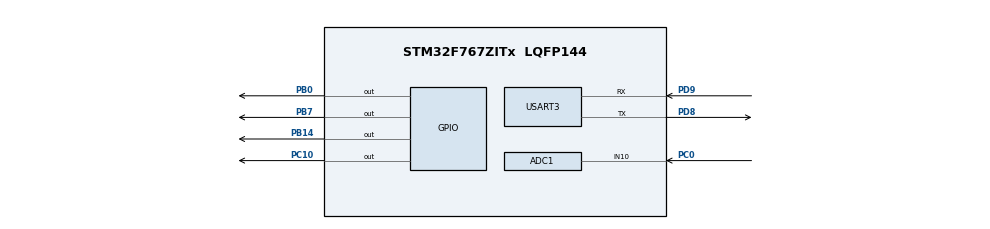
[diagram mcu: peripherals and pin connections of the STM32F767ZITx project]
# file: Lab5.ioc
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ADC1.Channel-0\#ChannelRegularConversion=ADC_CHANNEL_10
ADC1.ContinuousConvMode=ENABLE
ADC1.EOCSelection=ADC_EOC_SEQ_CONV
ADC1.NbrOfConversion=1
ADC1.NbrOfConversionFlag=1
ADC1.Rank-0\#ChannelRegularConversion=1
ADC1.SamplingTime-0\#ChannelRegularConversion=ADC_SAMPLETIME_3CYCLES
ADC1.master=1
CORTEX_M7.default_mode_Activation=1
Mcu.Family=STM32F7
Mcu.Name=STM32F767ZITx
Mcu.Package=LQFP144
NVIC.PriorityGroup=NVIC_PRIORITYGROUP_4
NVIC.USART3_IRQn=true\:0\:0\:false\:false\:true\:true\:true\:true
PB0.Signal=GPIO_Output
PB14.Signal=GPIO_Output
PB7.Signal=GPIO_Output
PC0.Signal=ADCx_IN10
PC10.Signal=GPIO_Output
PD8.Mode=Asynchronous
PD8.Signal=USART3_TX
PD9.Mode=Asynchronous
PD9.Signal=USART3_RX
ProjectManager.HeapSize=0x200
ProjectManager.StackSize=0x400
ProjectManager.TargetToolchain=STM32CubeIDE
RCC.HSE_VALUE=25000000
RCC.HSI_VALUE=16000000
RCC.LSE_VALUE=32768
RCC.USBFreq_Value=96000000
RCC.VCOOutputFreq_Value=192000000
SH.ADCx_IN10.0=ADC1_IN10,IN10
USART3.VirtualMode-Asynchronous=VM_ASYNC
board=custom

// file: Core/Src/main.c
/* USER CODE BEGIN Header */
/**
  ******************************************************************************
  * @file           : main.c
  * @brief          : Main program body
  ******************************************************************************
  * @attention
  *
  * Copyright (c) 2025 STMicroelectronics.
  * All rights reserved.
  *
  * This software is licensed under terms that can be found in the LICENSE file
  * in the root directory of this software component.
  * If no LICENSE file comes with this software, it is provided AS-IS.
  *
  ******************************************************************************
  */
/* USER CODE END Header */
#include "main.h"

/* USER CODE BEGIN Includes */
#include <stdio.h>
#include <string.h>
#include <stdlib.h>

/* USER CODE END Includes */

/* USER CODE BEGIN PD */

//char rx_message[100];
char rx_buffer;
char rx_message[100];
char message[100];
int len = 0;
int len_rx = 0;
int msg = 0;

#define ADC_RESOLUTION 4095.0  // 12-bit ADC resolution
#define VREF 3.3               // Reference voltage (3.3V)
uint32_t adc_value = 0;
float voltage = 0;

char hexBuffer[100];

int avr_8;
int avr_16;

/* USER CODE END PD */

ADC_HandleTypeDef hadc1;

UART_HandleTypeDef huart3;

void SystemClock_Config(void);
static void MPU_Config(void);
static void MX_GPIO_Init(void);
static void MX_USART3_UART_Init(void);
static void MX_ADC1_Init(void);

/* USER CODE BEGIN 0 */

// Function to map ADC value to voltage
float ADC_to_Voltage(uint32_t adc_value) {
    return (adc_value / ADC_RESOLUTION) * VREF;
}

void displayHEX(int decimalNumber, char *hexBuffer)
{
    sprintf(hexBuffer, "0x%08X", decimalNumber);
}

// set char rx_message[100];
void inputText()
{
	char rx_buffer;
	char rx_message[100];
	int len = 0;
	int len_rx = 0;
	char *msg[100];

	while (1)
	{
		if (HAL_UART_Receive(&huart3, (uint8_t*)&rx_buffer, sizeof(rx_buffer), HAL_MAX_DELAY) == HAL_OK)
		  {
			  HAL_UART_Transmit(&huart3, (uint8_t*)&rx_buffer, sizeof(rx_buffer), HAL_MAX_DELAY);

			  // add char to string
			  len = strlen(rx_message);

			  if (len < sizeof(rx_message) - 1 && rx_buffer != '\r')
			  {
				  rx_message[len] = rx_buffer;
				  rx_message[len + 1] = '\0';

			  }

			  len_rx = strlen(rx_message);

			  // action ENTER KEY
			  if (rx_buffer == '\r')
			  {
				  HAL_UART_Transmit(&huart3, (uint8_t*)"\r\n", 2, HAL_MAX_DELAY);
				  sprintf(msg, sizeof(msg), "0x%X", rx_message);
				  HAL_UART_Transmit(&huart3, msg, sizeof(msg), HAL_MAX_DELAY);
				  HAL_UART_Transmit(&huart3, (uint8_t*)"\r\n", 2, HAL_MAX_DELAY);
//				  memset(rx_message, 0, sizeof(rx_message));
//				  memset(msg, 0, sizeof(msg));
				  break;
			  }
		  }
	}

}

int avrage_8(int x){
	static int samples[8];
	static int i = 0;
	static total = 0;

	total += x - samples[i];
	samples[i] = x;
	i = (i==7 ? 0 : i+1);
	return total>>3;
}

int avrage_16(int x){
	static int samples[16];
	static int i = 0;
	static total = 0;

	total += x - samples[i];
	samples[i] = x;
	i = (i==7 ? 0 : i+1);
	return total>>4;
}

/* USER CODE END 0 */

int main(void)
{

  /* MPU Configuration--------------------------------------------------------*/
  MPU_Config();

  /* MCU Configuration--------------------------------------------------------*/

  /* Reset of all peripherals, Initializes the Flash interface and the Systick. */
  HAL_Init();

  /* Configure the system clock */
  SystemClock_Config();

  /* Initialize all configured peripherals */
  MX_GPIO_Init();
  MX_USART3_UART_Init();
  MX_ADC1_Init();
  /* USER CODE BEGIN 2 */

  HAL_ADC_Start(&hadc1);

  /* USER CODE END 2 */

  /* Infinite loop */
  while (1)
  {

    /* USER CODE BEGIN 3 */
	  while (HAL_ADC_PollForConversion(&hadc1, 100) != HAL_OK){}
	  adc_value = HAL_ADC_GetValue(&hadc1);
//	  mappedValue = (adc_value * 4025) / 4095;
	  avr_8 = avrage_8(adc_value);
	  avr_16 = avrage_16(adc_value);
	  displayHEX(adc_value, hexBuffer);
	  voltage = ADC_to_Voltage(adc_value);

//	  HAL_GPIO_WritePin(GPIOB, GPIO_PIN_0, (avr_8 < 1007) ? GPIO_PIN_SET : GPIO_PIN_RESET);
//	  HAL_GPIO_WritePin(GPIOB, GPIO_PIN_7, (avr_8 >= 1007 && avr_8 < 2013) ? GPIO_PIN_SET : GPIO_PIN_RESET);
//	  HAL_GPIO_WritePin(GPIOB, GPIO_PIN_14, (avr_8 >= 2013 && avr_8 < 3019) ? GPIO_PIN_SET : GPIO_PIN_RESET);
//	  HAL_GPIO_WritePin(GPIOC, GPIO_PIN_10, (avr_8 >= 3019) ? GPIO_PIN_SET : GPIO_PIN_RESET);

	  if(avr_8 < 806) {
		  HAL_GPIO_WritePin(GPIOB, GPIO_PIN_0 | GPIO_PIN_7 | GPIO_PIN_14, GPIO_PIN_RESET);
		  HAL_GPIO_WritePin(GPIOC, GPIO_PIN_10, GPIO_PIN_RESET);
	  } else if (avr_8 < 1611) {
		  HAL_GPIO_WritePin(GPIOB, GPIO_PIN_0, GPIO_PIN_SET);
		  HAL_GPIO_WritePin(GPIOB, GPIO_PIN_7 | GPIO_PIN_14, GPIO_PIN_RESET);
		  HAL_GPIO_WritePin(GPIOC, GPIO_PIN_10, GPIO_PIN_RESET);
	  } else if (avr_8 < 2416) {
		  HAL_GPIO_WritePin(GPIOB, GPIO_PIN_0 | GPIO_PIN_7, GPIO_PIN_SET);
		  HAL_GPIO_WritePin(GPIOB, GPIO_PIN_14, GPIO_PIN_RESET);
		  HAL_GPIO_WritePin(GPIOC, GPIO_PIN_10, GPIO_PIN_RESET);
	  } else if (avr_8 < 3221) {
		  HAL_GPIO_WritePin(GPIOB, GPIO_PIN_0 | GPIO_PIN_7 | GPIO_PIN_14, GPIO_PIN_SET);
		  HAL_GPIO_WritePin(GPIOC, GPIO_PIN_10, GPIO_PIN_RESET);
	  } else {
		  HAL_GPIO_WritePin(GPIOB, GPIO_PIN_0 | GPIO_PIN_7 | GPIO_PIN_14, GPIO_PIN_SET);
		  HAL_GPIO_WritePin(GPIOC, GPIO_PIN_10, GPIO_PIN_SET);
	  }

	  memset(message, 0 , sizeof(message));
	  snprintf(message, sizeof(message), "ADC1_CH10 %s Vin = %.2f V\r\n", hexBuffer, voltage);
	  HAL_UART_Transmit(&huart3, (uint8_t *)message, sizeof(message), HAL_MAX_DELAY);
	  HAL_Delay(200);

  }
  /* USER CODE END 3 */
}

void SystemClock_Config(void)
{
  RCC_OscInitTypeDef RCC_OscInitStruct = {0};
  RCC_ClkInitTypeDef RCC_ClkInitStruct = {0};

  /** Configure the main internal regulator output voltage
  */
  __HAL_RCC_PWR_CLK_ENABLE();
  __HAL_PWR_VOLTAGESCALING_CONFIG(PWR_REGULATOR_VOLTAGE_SCALE3);

  /** Initializes the RCC Oscillators according to the specified parameters
  * in the RCC_OscInitTypeDef structure.
  */
  RCC_OscInitStruct.OscillatorType = RCC_OSCILLATORTYPE_HSI;
  RCC_OscInitStruct.HSIState = RCC_HSI_ON;
  RCC_OscInitStruct.HSICalibrationValue = RCC_HSICALIBRATION_DEFAULT;
  RCC_OscInitStruct.PLL.PLLState = RCC_PLL_NONE;
  if (HAL_RCC_OscConfig(&RCC_OscInitStruct) != HAL_OK)
  {
    Error_Handler();
  }

  /** Initializes the CPU, AHB and APB buses clocks
  */
  RCC_ClkInitStruct.ClockType = RCC_CLOCKTYPE_HCLK|RCC_CLOCKTYPE_SYSCLK
                              |RCC_CLOCKTYPE_PCLK1|RCC_CLOCKTYPE_PCLK2;
  RCC_ClkInitStruct.SYSCLKSource = RCC_SYSCLKSOURCE_HSI;
  RCC_ClkInitStruct.AHBCLKDivider = RCC_SYSCLK_DIV1;
  RCC_ClkInitStruct.APB1CLKDivider = RCC_HCLK_DIV1;
  RCC_ClkInitStruct.APB2CLKDivider = RCC_HCLK_DIV1;

  if (HAL_RCC_ClockConfig(&RCC_ClkInitStruct, FLASH_LATENCY_0) != HAL_OK)
  {
    Error_Handler();
  }
}

static void MX_ADC1_Init(void)
{

  ADC_ChannelConfTypeDef sConfig = {0};

  /** Configure the global features of the ADC (Clock, Resolution, Data Alignment and number of conversion)
  */
  hadc1.Instance = ADC1;
  hadc1.Init.ClockPrescaler = ADC_CLOCK_SYNC_PCLK_DIV2;
  hadc1.Init.Resolution = ADC_RESOLUTION_12B;
  hadc1.Init.ScanConvMode = ADC_SCAN_DISABLE;
  hadc1.Init.ContinuousConvMode = ENABLE;
  hadc1.Init.DiscontinuousConvMode = DISABLE;
  hadc1.Init.ExternalTrigConvEdge = ADC_EXTERNALTRIGCONVEDGE_NONE;
  hadc1.Init.ExternalTrigConv = ADC_SOFTWARE_START;
  hadc1.Init.DataAlign = ADC_DATAALIGN_RIGHT;
  hadc1.Init.NbrOfConversion = 1;
  hadc1.Init.DMAContinuousRequests = DISABLE;
  hadc1.Init.EOCSelection = ADC_EOC_SEQ_CONV;
  if (HAL_ADC_Init(&hadc1) != HAL_OK)
  {
    Error_Handler();
  }

  /** Configure for the selected ADC regular channel its corresponding rank in the sequencer and its sample time.
  */
  sConfig.Channel = ADC_CHANNEL_10;
  sConfig.Rank = ADC_REGULAR_RANK_1;
  sConfig.SamplingTime = ADC_SAMPLETIME_3CYCLES;
  if (HAL_ADC_ConfigChannel(&hadc1, &sConfig) != HAL_OK)
  {
    Error_Handler();
  }

}

static void MX_USART3_UART_Init(void)
{

  huart3.Instance = USART3;
  huart3.Init.BaudRate = 115200;
  huart3.Init.WordLength = UART_WORDLENGTH_8B;
  huart3.Init.StopBits = UART_STOPBITS_1;
  huart3.Init.Parity = UART_PARITY_NONE;
  huart3.Init.Mode = UART_MODE_TX_RX;
  huart3.Init.HwFlowCtl = UART_HWCONTROL_NONE;
  huart3.Init.OverSampling = UART_OVERSAMPLING_16;
  huart3.Init.OneBitSampling = UART_ONE_BIT_SAMPLE_DISABLE;
  huart3.AdvancedInit.AdvFeatureInit = UART_ADVFEATURE_NO_INIT;
  if (HAL_UART_Init(&huart3) != HAL_OK)
  {
    Error_Handler();
  }

}

static void MX_GPIO_Init(void)
{
  GPIO_InitTypeDef GPIO_InitStruct = {0};

  /* GPIO Ports Clock Enable */
  __HAL_RCC_GPIOC_CLK_ENABLE();
  __HAL_RCC_GPIOB_CLK_ENABLE();
  __HAL_RCC_GPIOD_CLK_ENABLE();

  /*Configure GPIO pin Output Level */
  HAL_GPIO_WritePin(GPIOB, GPIO_PIN_0|GPIO_PIN_14|GPIO_PIN_7, GPIO_PIN_RESET);

  /*Configure GPIO pin Output Level */
  HAL_GPIO_WritePin(GPIOC, GPIO_PIN_10, GPIO_PIN_RESET);

  /*Configure GPIO pins : PB0 PB14 PB7 */
  GPIO_InitStruct.Pin = GPIO_PIN_0|GPIO_PIN_14|GPIO_PIN_7;
  GPIO_InitStruct.Mode = GPIO_MODE_OUTPUT_PP;
  GPIO_InitStruct.Pull = GPIO_NOPULL;
  GPIO_InitStruct.Speed = GPIO_SPEED_FREQ_LOW;
  HAL_GPIO_Init(GPIOB, &GPIO_InitStruct);

  /*Configure GPIO pin : PC10 */
  GPIO_InitStruct.Pin = GPIO_PIN_10;
  GPIO_InitStruct.Mode = GPIO_MODE_OUTPUT_PP;
  GPIO_InitStruct.Pull = GPIO_NOPULL;
  GPIO_InitStruct.Speed = GPIO_SPEED_FREQ_LOW;
  HAL_GPIO_Init(GPIOC, &GPIO_InitStruct);

}

 /* MPU Configuration */

void MPU_Config(void)
{
  MPU_Region_InitTypeDef MPU_InitStruct = {0};

  /* Disables the MPU */
  HAL_MPU_Disable();

  /** Initializes and configures the Region and the memory to be protected
  */
  MPU_InitStruct.Enable = MPU_REGION_ENABLE;
  MPU_InitStruct.Number = MPU_REGION_NUMBER0;
  MPU_InitStruct.BaseAddress = 0x0;
  MPU_InitStruct.Size = MPU_REGION_SIZE_4GB;
  MPU_InitStruct.SubRegionDisable = 0x87;
  MPU_InitStruct.TypeExtField = MPU_TEX_LEVEL0;
  MPU_InitStruct.AccessPermission = MPU_REGION_NO_ACCESS;
  MPU_InitStruct.DisableExec = MPU_INSTRUCTION_ACCESS_DISABLE;
  MPU_InitStruct.IsShareable = MPU_ACCESS_SHAREABLE;
  MPU_InitStruct.IsCacheable = MPU_ACCESS_NOT_CACHEABLE;
  MPU_InitStruct.IsBufferable = MPU_ACCESS_NOT_BUFFERABLE;

  HAL_MPU_ConfigRegion(&MPU_InitStruct);
  /* Enables the MPU */
  HAL_MPU_Enable(MPU_PRIVILEGED_DEFAULT);

}

void Error_Handler(void)
{
  __disable_irq();
  while (1)
  {
  }
}
